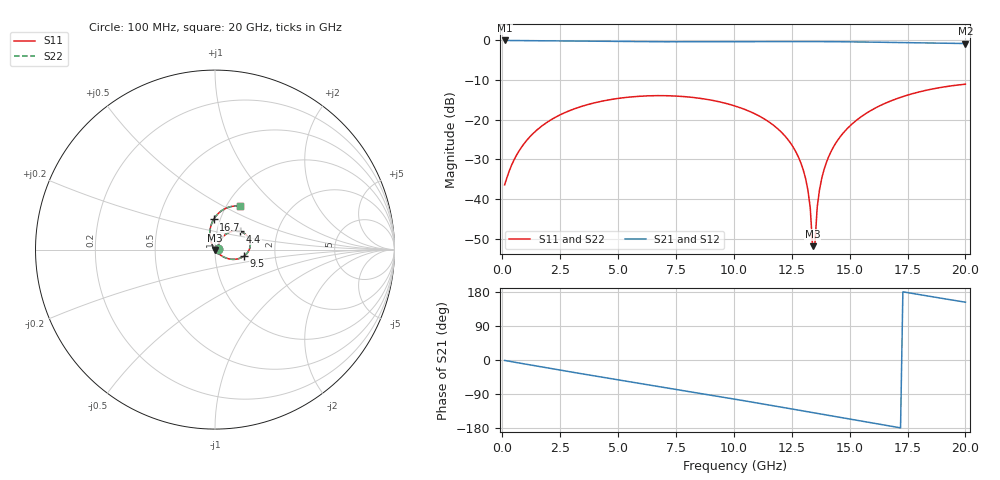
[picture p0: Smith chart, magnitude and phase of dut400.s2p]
! Touchstone file exported from HFSS 2026.1.0
!  File:  C:/ffzhzh/LocalFiles/Ansys_Project_Files/temp_train_TSV_RDL_400_1783092251_37876.aedt
!  Generated:  11:34:06 PM Jul  3, 2026
!  Design:  TSV_RDL
!  Project:  temp_train_TSV_RDL_400_1783092251_37876
! Variables:
!  h_bsmrdl = 5.99um
!  h_ox = 20um
!  h_rdl = 5um
!  h_sub = 90.58um
!  h_tmrdl = 3.76um
!  h_tsv = 90.58um
!  h_via = 3um
!  l_bsmrdl = 331.2um
!  l_sub = 2953.24um
!  l_tmrdl = 358.53um
!  m_sub = 200um
!  pitch = 36.94um
!  r_tsv = 13.18um
!  s_tmrdl = 10um
!  w_bsmrdl = 29.05um
!  w_sub = 500um
!  w_tmrdl = 12.79um
!  x_tsv_center1 = 364.925um
!  x_tsv_center2 = 725.175um
!  x_tsv_center3 = 1096.495um
!  x_tsv_center4 = 1456.745um
!  x_tsv_center5 = 1828.065um
!  x_tsv_center6 = 2188.315um
# GHz S MA R 50.000000
! Terminal data exported
! Port[1] = TM_RDL1_1_T1
! Port[2] = TM_RDL5_1_T1
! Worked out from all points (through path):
!   200 points, 100 MHz to 20 GHz, reference 50 ohm
!   highest |S21| = -0.12 dB at 100 MHz (marker M1); lowest = -0.9 dB at 20 GHz (marker M2)
!   group delay of S21, straight-line fit = 28.8 ps
!   lowest |S11| = -51.8 dB at 13.4 GHz (marker M3), VSWR 1.01, Z = 50.2 - j0.201 ohm
!   |S11| at or under -10 dB: start of sweep to end of sweep
!   |S22| runs from -51.8 to -11.1 dB; largest |S21 - S12| = 1.7e-14
!   S11 on the Smith chart (normalised r, x): 100 MHz: 1.03, +0.01; 4.4 GHz: 1.29, +0.27; 9.5 GHz: 1.38, -0.11; 16.7 GHz: 0.93, +0.32; 20 GHz: 1.15, +0.60
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0.1  0.01516 22.1  0.986 -1.1  0.986 -1.1  0.01516 22.1
! Gamma 0 0 0 0
! Port Impedance 50 0 50 0
0.6  0.03507 54.8  0.9825 -6.6  0.9825 -6.6  0.03507 54.8
1.3  0.06559 59.7  0.9792 -14.0  0.9792 -14.0  0.06559 59.7
3.5  0.1488 44.2  0.9651 -37.0  0.9651 -37.0  0.1488 44.2
4.4  0.1726 35.9  0.9593 -46.2  0.9593 -46.2  0.1726 35.9
6.8  0.2 13.1  0.9499 -70.5  0.9499 -70.5  0.2 13.1
9.5  0.1641 -13.3  0.9517 -97.8  0.9517 -97.8  0.1641 -13.3
10.1  0.1466 -19.3  0.9532 -104.0  0.9532 -104.0  0.1466 -19.3
11.7  0.08545 -35.5  0.9564 -120.7  0.9564 -120.7  0.08545 -35.6
12.7  0.03832 -45.8  0.9566 -131.3  0.9566 -131.3  0.03832 -45.9
13  0.02322 -48.8  0.9562 -134.5  0.9562 -134.5  0.02322 -49.1
13.2  0.01296 -50.7  0.9558 -136.6  0.9558 -136.6  0.01296 -51.3
13.3  0.00778 -51.5  0.9556 -137.7  0.9556 -137.7  0.007779 -52.4
13.4  0.002573 -51.2  0.9554 -138.8  0.9554 -138.8  0.002572 -54.1
13.5  0.002665 123.9  0.9551 -139.9  0.9551 -139.9  0.002664 126.8
13.6  0.007922 124.1  0.9548 -140.9  0.9548 -140.9  0.007922 125.1
13.7  0.0132 123.3  0.9544 -142.0  0.9544 -142.0  0.0132 123.9
13.9  0.02382 121.4  0.9537 -144.1  0.9537 -144.1  0.02382 121.8
14.2  0.03983 118.4  0.9523 -147.4  0.9523 -147.4  0.03983 118.6
15.2  0.0931 108.0  0.9461 -158.0  0.9461 -158.0  0.0931 108.1
16.7  0.168 92.7  0.9327 -173.9  0.9327 -173.9  0.168 92.7
20  0.2783 60.2  0.9023 152.5  0.9023 152.5  0.2783 60.2
